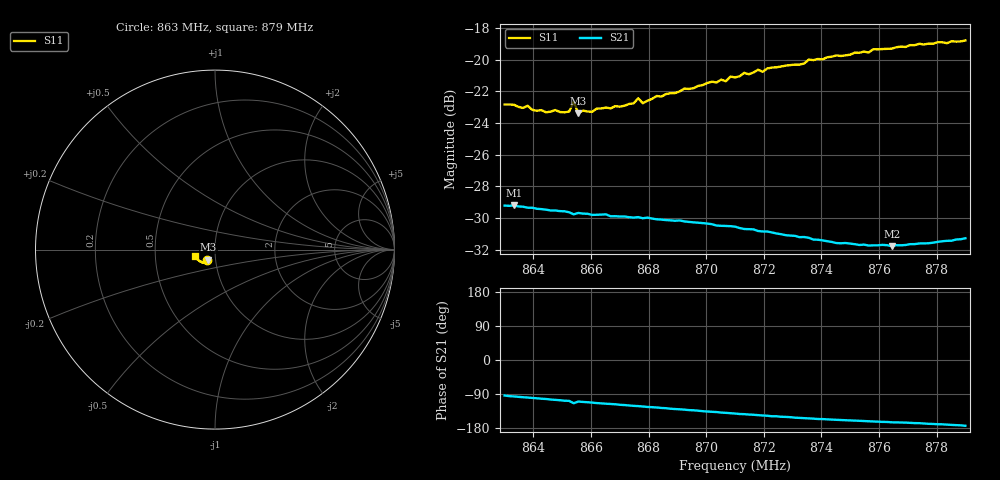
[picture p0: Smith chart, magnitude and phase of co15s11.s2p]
# HZ S RI R 50
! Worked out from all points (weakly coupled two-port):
!   101 points, 863 MHz to 879 MHz, reference 50 ohm
!   highest |S21| = -29.21 dB at 863.32 MHz (marker M1); lowest = -31.8 dB at 876.44 MHz (marker M2)
!   lowest |S11| = -23.4 dB at 865.56 MHz (marker M3), VSWR 1.15, Z = 46.2 - j5.28 ohm
!   |S11| at or under -10 dB: start of sweep to end of sweep
!   S12 and S22 are empty: the file has one direction only
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8.63e8  -0.0451 -0.0563  -0.00226 -0.0345  0 0  0 0
8.6332e8  -0.0453 -0.0561  -0.00364 -0.0344  0 0  0 0
8.638e8  -0.0438 -0.0565  -0.00534 -0.0336  0 0  0 0
8.6444e8  -0.0402 -0.0551  -0.00752 -0.0327  0 0  0 0
8.6476e8  -0.0405 -0.0563  -0.00874 -0.0322  0 0  0 0
8.6508e8  -0.0378 -0.0568  -0.00993 -0.0317  0 0  0 0
8.6524e8  -0.0387 -0.0566  -0.0101 -0.0314  0 0  0 0
8.654e8  -0.0463 -0.0572  -0.0132 -0.0296  0 0  0 0
8.6556e8  -0.0369 -0.0569  -0.011 -0.0309  0 0  0 0
8.6572e8  -0.0366 -0.0586  -0.0115 -0.0305  0 0  0 0
8.6716e8  -0.0364 -0.0616  -0.0154 -0.028  0 0  0 0
8.6748e8  -0.0357 -0.0635  -0.0163 -0.0272  0 0  0 0
8.6764e8  -0.0383 -0.0652  -0.0167 -0.0271  0 0  0 0
8.678e8  -0.0375 -0.0624  -0.017 -0.0265  0 0  0 0
8.6828e8  -0.0387 -0.0663  -0.0181 -0.0255  0 0  0 0
8.6844e8  -0.0392 -0.0656  -0.0186 -0.0251  0 0  0 0
8.71e8  -0.0496 -0.0726  -0.0231 -0.0186  0 0  0 0
8.718e8  -0.0568 -0.0736  -0.0237 -0.0163  0 0  0 0
8.7196e8  -0.0565 -0.0721  -0.0239 -0.0158  0 0  0 0
8.7372e8  -0.0689 -0.0722  -0.0244 -0.0115  0 0  0 0
8.7644e8  -0.0911 -0.0588  -0.0248 -0.00691  0 0  0 0
8.79e8  -0.1089 -0.0372  -0.0271 -0.00304  0 0  0 0
